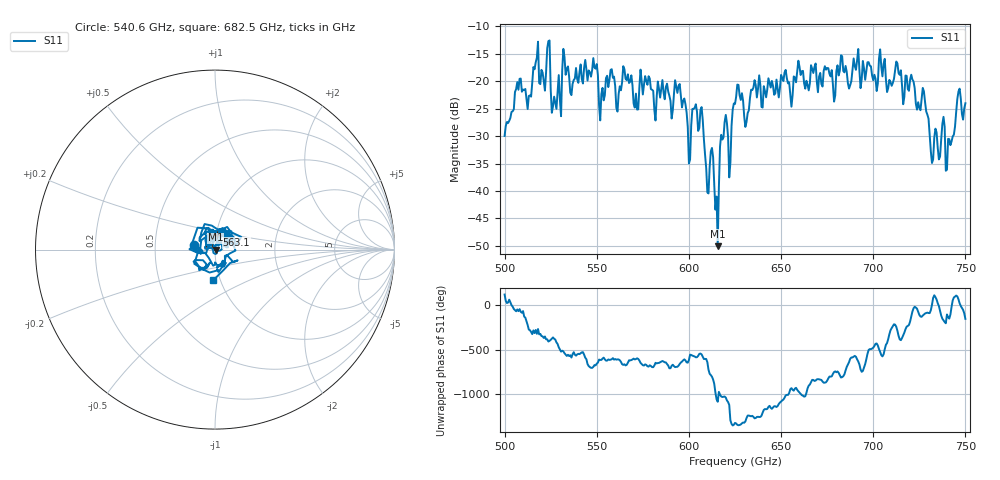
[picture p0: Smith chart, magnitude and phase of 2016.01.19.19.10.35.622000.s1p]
!Created with skrf (http://scikit-rf.org).
# GHz S RI R 50.0
!freq ReS11 ImS11
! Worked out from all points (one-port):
!   401 points, 500 GHz to 750 GHz, reference 50 ohm
!   lowest |S11| = -50.0 dB at 615.6 GHz (marker M1), VSWR 1.01, Z = 50.3 - j0.0275 ohm
!   |S11| at or under -10 dB: start of sweep to end of sweep
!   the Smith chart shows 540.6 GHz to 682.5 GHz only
!   S11 on the Smith chart (normalised r, x): 540.6 GHz: 0.79, +0.04; 563.1 GHz: 1.01, +0.17; 682.5 GHz: 0.92, -0.33
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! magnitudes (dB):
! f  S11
! 500 GHz  -30.0
! 507.5 GHz  -21.6
! 513.1 GHz  -22.7
! 516.9 GHz  -16.6
! 523.8 GHz  -12.7
! 526.9 GHz  -22.8
! 531.2 GHz  -18.0
! 540.6 GHz  -18.4
! 562.5 GHz  -20.9
! 563.1 GHz  -21.7
! 593.8 GHz  -22.1
! 600 GHz  -35.0
! 606.9 GHz  -24.7
! 610 GHz  -40.3
! 612.5 GHz  -32.2
! 615.6 GHz  -50.0
! 618.1 GHz  -30.6
! 622.5 GHz  -34.8
! 625 GHz  -24.2
! 656.2 GHz  -22.6
! 682.5 GHz  -15.3
! 687.5 GHz  -20.7
! 718.8 GHz  -21.4
! 728.1 GHz  -23.8
! 731.9 GHz  -34.9
! 740.6 GHz  -30.5
! 746.2 GHz  -21.9
! 750 GHz  -24.0
